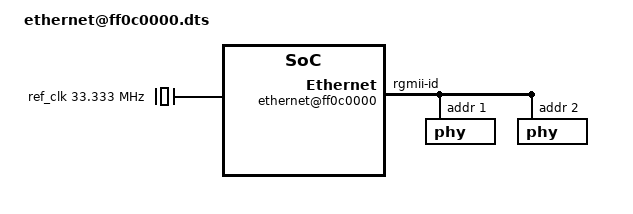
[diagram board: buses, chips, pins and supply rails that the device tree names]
/dts-v1/;

/ {
	#address-cells = <0x02>;
	#size-cells = <0x02>;

	passthrough {
		compatible = "simple-bus";
		ranges;
		#address-cells = <0x02>;
		#size-cells = <0x02>;

	    ref_clk {
		    u-boot,dm-pre-reloc;
		    compatible = "fixed-clock";
		    #clock-cells = <0x00>;
		    clock-frequency = <0x1fca034>;
		    phandle = <0x1b>;
	    };

        ethernet@ff0c0000 {
            compatible = "cdns,versal-gem\0cdns,gem";
            status = "okay";
            reg = <0x00 0xff0c0000 0x00 0x1000>;
            #interrupt-cells = <0x3>;
            interrupt-parent = <0xfde8>;
            interrupts = <0x00 0x38 0x04 0x00 0x38 0x04>;
            clock-names = "pclk\0hclk\0tx_clk\0rx_clk\0tsu_clk";
            #stream-id-cells = <0x01>;
            #address-cells = <0x01>;
            #size-cells = <0x00>;
            phy-handle = <0x09>;
            phy-mode = "rgmii-id";
            clocks = <0x1b 0x1b 0x1b 0x1b 0x1b>;
            phandle = <0x0b>;
            xen,reg = <0x00 0xff0c0000 0x00 0x1000 0x00 0xff0c0000>;
            xen,path = "/axi/ethernet@ff0c0000";

            phy@1 {
                reg = <0x01>;
                ti,rx-internal-delay = <0x0b>;
                ti,tx-internal-delay = <0x0a>;
                ti,fifo-depth = <0x01>;
                ti,dp83867-rxctrl-strap-quirk;
                phandle = <0x09>;
            };

            phy@2 {
                reg = <0x02>;
                ti,rx-internal-delay = <0x0b>;
                ti,tx-internal-delay = <0x0a>;
                ti,fifo-depth = <0x01>;
                ti,dp83867-rxctrl-strap-quirk;
                phandle = <0x0a>;
            };
        };
    };
};
